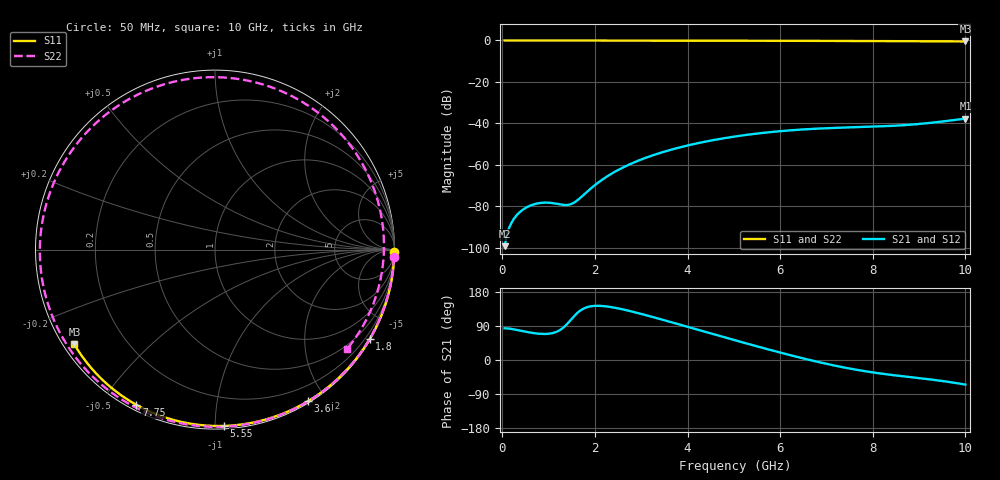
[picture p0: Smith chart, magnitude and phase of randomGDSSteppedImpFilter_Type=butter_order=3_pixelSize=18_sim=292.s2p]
! freq	dB(S11)	phase(S11)	dB(S12)	phase(S12)
!  dB(S21)	phase(S21)	dB(S22)	phase(S22)
!S-par simulation data
#  GHz  S  DB  R 50
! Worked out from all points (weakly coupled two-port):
!   200 points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, 50 MHz to 10 GHz, reference 50 ohm
!   highest |S21| = -37.66 dB at 10 GHz (marker M1); lowest = -99.1 dB at 50 MHz (marker M2)
!   lowest |S11| = -0.5 dB at 10 GHz (marker M3), VSWR 35.29, Z = 1.55 - j15.3 ohm
!   |S11| at or under -10 dB: nowhere
!   |S22| runs from -0.7 to 0.0 dB; largest |S21 - S12| = 0
!   S11 on the Smith chart (normalised r, x): 50 MHz: open; 1.8 GHz: 0.03, -3.73; 3.6 GHz: 0.02, -1.79; 5.55 GHz: 0.02, -1.05; 7.75 GHz: 0.02, -0.61; 10 GHz: 0.03, -0.31
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0.05  -0.00 -0.8  -99.15 83.7  -99.15 83.7  -0.01 -2.3
0.65  -0.01 -10.9  -79.21 71.4  -79.21 71.4  -0.04 -30.7
0.95  -0.02 -16.0  -78.15 68.8  -78.15 68.8  -0.06 -44.5
1.4  -0.03 -23.4  -79.30 95.2  -79.30 95.2  -0.08 -64.6
1.55  -0.03 -25.9  -78.16 115.7  -78.16 115.7  -0.09 -71.1
1.75  -0.04 -29.2  -74.56 135.3  -74.56 135.3  -0.10 -79.6
1.8  -0.04 -30.0  -73.55 138.0  -73.55 138.0  -0.10 -81.7
2.15  -0.05 -35.7  -67.23 142.6  -67.23 142.6  -0.11 -96.1
2.5  -0.05 -41.3  -62.45 136.2  -62.45 136.2  -0.13 -110.0
3.4  -0.07 -55.4  -54.26 108.3  -54.26 108.3  -0.16 -143.9
3.6  -0.08 -58.5  -52.93 101.5  -52.93 101.5  -0.17 -151.1
4.35  -0.10 -69.8  -48.92 75.4  -48.92 75.4  -0.21 -177.9
5.05  -0.12 -80.0  -46.21 51.2  -46.21 51.2  -0.25 157.1
5.55  -0.14 -87.1  -44.75 34.3  -44.75 34.3  -0.28 138.9
6.15  -0.17 -95.5  -43.44 14.9  -43.44 14.9  -0.31 116.5
6.7  -0.20 -102.9  -42.62 -1.8  -42.62 -1.8  -0.34 95.2
7.2  -0.23 -109.6  -42.13 -15.3  -42.13 -15.3  -0.37 75.4
7.75  -0.27 -116.9  -41.74 -27.9  -41.74 -27.9  -0.40 53.1
8.35  -0.32 -124.7  -41.25 -38.6  -41.25 -38.6  -0.45 28.5
8.75  -0.36 -129.8  -40.71 -44.4  -40.71 -44.4  -0.49 12.3
9.15  -0.40 -135.0  -39.93 -50.0  -39.93 -50.0  -0.54 -3.8
10  -0.49 -146.0  -37.66 -64.9  -37.66 -64.9  -0.72 -37.1
